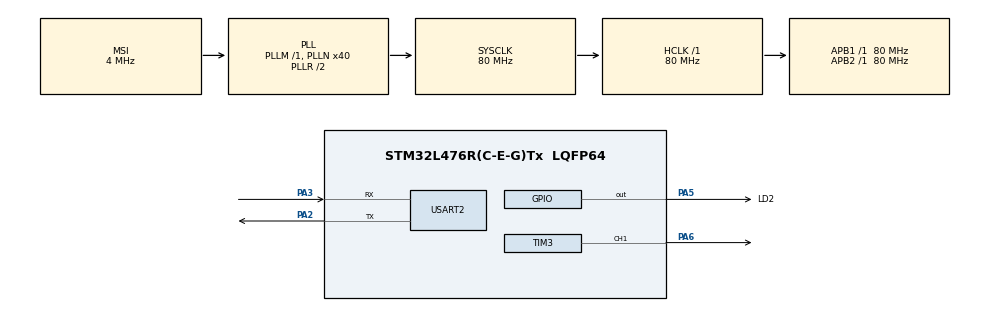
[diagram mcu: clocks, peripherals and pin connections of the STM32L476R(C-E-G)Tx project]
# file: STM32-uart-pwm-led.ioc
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Mcu.Family=STM32L4
Mcu.Name=STM32L476R(C-E-G)Tx
Mcu.Package=LQFP64
NVIC.PriorityGroup=NVIC_PRIORITYGROUP_4
PA13\ (JTMS-SWDIO).Mode=Serial_Wire
PA13\ (JTMS-SWDIO).Signal=SYS_JTMS-SWDIO
PA14\ (JTCK-SWCLK).Mode=Serial_Wire
PA14\ (JTCK-SWCLK).Signal=SYS_JTCK-SWCLK
PA2.Mode=Asynchronous
PA2.Signal=USART2_TX
PA3.Mode=Asynchronous
PA3.Signal=USART2_RX
PA5.GPIO_Label=LD2
PA5.Signal=GPIO_Output
PA6.Signal=S_TIM3_CH1
ProjectManager.HeapSize=0x200
ProjectManager.StackSize=0x400
ProjectManager.TargetToolchain=STM32CubeIDE
RCC.ADCFreq_Value=16000000
RCC.AHBFreq_Value=80000000
RCC.APB1Freq_Value=80000000
RCC.APB1TimFreq_Value=80000000
RCC.APB2Freq_Value=80000000
RCC.APB2TimFreq_Value=80000000
RCC.CortexFreq_Value=80000000
RCC.HCLKFreq_Value=80000000
RCC.HSE_VALUE=8000000
RCC.HSI_VALUE=16000000
RCC.LSE_VALUE=32768
RCC.MSI_VALUE=4000000
RCC.PLLN=40
RCC.SYSCLKFreq_VALUE=80000000
RCC.SYSCLKSource=RCC_SYSCLKSOURCE_PLLCLK
RCC.USBFreq_Value=16000000
RCC.VCOOutputFreq_Value=160000000
SH.S_TIM3_CH1.0=TIM3_CH1,PWM Generation1 CH1
TIM3.Channel-PWM\ Generation1\ CH1=TIM_CHANNEL_1
TIM3.Period=9999
TIM3.Prescaler=79
USART2.VirtualMode-Asynchronous=VM_ASYNC
VP_TIM3_VS_ClockSourceINT.Mode=Internal
board=custom

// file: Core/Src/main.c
/* USER CODE BEGIN Header */
/**
  ******************************************************************************
  * @file           : main.c
  * @brief          : Main program body
  ******************************************************************************
  * @attention
  *
  * Copyright (c) 2026 STMicroelectronics.
  * All rights reserved.
  *
  * This software is licensed under terms that can be found in the LICENSE file
  * in the root directory of this software component.
  * If no LICENSE file comes with this software, it is provided AS-IS.
  *
  ******************************************************************************
  */
/* USER CODE END Header */
#include "main.h"

/* USER CODE BEGIN Includes */
#include "math.h"
#include <stdio.h>
#include <string.h>
#include <stdbool.h>

/* USER CODE END Includes */

TIM_HandleTypeDef htim3;

UART_HandleTypeDef huart2;

void SystemClock_Config(void);
static void MX_GPIO_Init(void);
static void MX_USART2_UART_Init(void);
static void MX_TIM3_Init(void);

/* USER CODE BEGIN 0 */
void HAL_TIM_PeriodElapsedCallback(TIM_HandleTypeDef *htim)
{
  if (htim == &htim3) {
    HAL_GPIO_TogglePin(LD2_GPIO_Port, LD2_Pin);
  }
}

float calc_pwm(float val)
{
    const float k = 0.13f;
    const float x0 = 70.0f;
    return 10000.0f / (1.0f + exp(-k * (val - x0)));
}

int __io_putchar(int ch)
{
    if (ch == '\n') {
        uint8_t ch2 = '\r';
        HAL_UART_Transmit(&huart2, &ch2, 1, HAL_MAX_DELAY);
    }
    HAL_UART_Transmit(&huart2, (uint8_t*)&ch, 1, HAL_MAX_DELAY);
    return 1;
}

#define LINE_MAX_LENGTH	80
static char line_buffer[LINE_MAX_LENGTH + 1];
static uint32_t line_length;
void line_append(uint8_t value)
{
	if (value == '\r' || value == '\n') {

		if (line_length > 0) {

			line_buffer[line_length] = '\0';

			float pwm_val = 0;

			if (strcmp(line_buffer, "on") == 0){
				  printf("LED on \n");
				  HAL_TIM_PWM_Start(&htim3, TIM_CHANNEL_1);
				  __HAL_TIM_SET_COMPARE(&htim3, TIM_CHANNEL_1, calc_pwm(100));

			} else if (strcmp(line_buffer, "off") == 0){
				  printf("LED off \n");
				  HAL_TIM_PWM_Stop(&htim3, TIM_CHANNEL_1);

			} else if (line_buffer[0] >= '0' && line_buffer[2] <= '9'){

				for (int i = 0; i<line_length; i++){
					float number = line_buffer[i] - '0';
					pwm_val = pwm_val * 10 + number;
					if(pwm_val > 100)  pwm_val = 100;
					if(pwm_val < 0)  pwm_val = 0;
				}

				__HAL_TIM_SET_COMPARE(&htim3, TIM_CHANNEL_1, calc_pwm(pwm_val));
				printf("LED brightness: %.0f %\n", pwm_val);

			} else {
				printf("Uknown command: %s\n", line_buffer);

			}

			line_length = 0;
		}
	}
	else {
		if (line_length >= LINE_MAX_LENGTH) {

			line_length = 0;
		}

		line_buffer[line_length++] = value;
	}
}

/* USER CODE END 0 */

int main(void)
{

  /* MCU Configuration--------------------------------------------------------*/

  /* Reset of all peripherals, Initializes the Flash interface and the Systick. */
  HAL_Init();

  /* Configure the system clock */
  SystemClock_Config();

  /* Initialize all configured peripherals */
  MX_GPIO_Init();
  MX_USART2_UART_Init();
  MX_TIM3_Init();

  /* Infinite loop */
  /* USER CODE BEGIN WHILE */
  while (1)
  {
	  uint8_t value;
	  	  if (HAL_UART_Receive(&huart2, &value, 1, 0) == HAL_OK){
	  		line_append(value);
	  	  }
    /* USER CODE END WHILE */

  }
}

void SystemClock_Config(void)
{
  RCC_OscInitTypeDef RCC_OscInitStruct = {0};
  RCC_ClkInitTypeDef RCC_ClkInitStruct = {0};

  /** Configure the main internal regulator output voltage
  */
  if (HAL_PWREx_ControlVoltageScaling(PWR_REGULATOR_VOLTAGE_SCALE1) != HAL_OK)
  {
    Error_Handler();
  }

  /** Initializes the RCC Oscillators according to the specified parameters
  * in the RCC_OscInitTypeDef structure.
  */
  RCC_OscInitStruct.OscillatorType = RCC_OSCILLATORTYPE_MSI;
  RCC_OscInitStruct.MSIState = RCC_MSI_ON;
  RCC_OscInitStruct.MSICalibrationValue = 0;
  RCC_OscInitStruct.MSIClockRange = RCC_MSIRANGE_6;
  RCC_OscInitStruct.PLL.PLLState = RCC_PLL_ON;
  RCC_OscInitStruct.PLL.PLLSource = RCC_PLLSOURCE_MSI;
  RCC_OscInitStruct.PLL.PLLM = 1;
  RCC_OscInitStruct.PLL.PLLN = 40;
  RCC_OscInitStruct.PLL.PLLP = RCC_PLLP_DIV7;
  RCC_OscInitStruct.PLL.PLLQ = RCC_PLLQ_DIV2;
  RCC_OscInitStruct.PLL.PLLR = RCC_PLLR_DIV2;
  if (HAL_RCC_OscConfig(&RCC_OscInitStruct) != HAL_OK)
  {
    Error_Handler();
  }

  /** Initializes the CPU, AHB and APB buses clocks
  */
  RCC_ClkInitStruct.ClockType = RCC_CLOCKTYPE_HCLK|RCC_CLOCKTYPE_SYSCLK
                              |RCC_CLOCKTYPE_PCLK1|RCC_CLOCKTYPE_PCLK2;
  RCC_ClkInitStruct.SYSCLKSource = RCC_SYSCLKSOURCE_PLLCLK;
  RCC_ClkInitStruct.AHBCLKDivider = RCC_SYSCLK_DIV1;
  RCC_ClkInitStruct.APB1CLKDivider = RCC_HCLK_DIV1;
  RCC_ClkInitStruct.APB2CLKDivider = RCC_HCLK_DIV1;

  if (HAL_RCC_ClockConfig(&RCC_ClkInitStruct, FLASH_LATENCY_4) != HAL_OK)
  {
    Error_Handler();
  }
}

static void MX_TIM3_Init(void)
{

  TIM_ClockConfigTypeDef sClockSourceConfig = {0};
  TIM_MasterConfigTypeDef sMasterConfig = {0};
  TIM_OC_InitTypeDef sConfigOC = {0};

  htim3.Instance = TIM3;
  htim3.Init.Prescaler = 79;
  htim3.Init.CounterMode = TIM_COUNTERMODE_UP;
  htim3.Init.Period = 9999;
  htim3.Init.ClockDivision = TIM_CLOCKDIVISION_DIV1;
  htim3.Init.AutoReloadPreload = TIM_AUTORELOAD_PRELOAD_DISABLE;
  if (HAL_TIM_Base_Init(&htim3) != HAL_OK)
  {
    Error_Handler();
  }
  sClockSourceConfig.ClockSource = TIM_CLOCKSOURCE_INTERNAL;
  if (HAL_TIM_ConfigClockSource(&htim3, &sClockSourceConfig) != HAL_OK)
  {
    Error_Handler();
  }
  if (HAL_TIM_PWM_Init(&htim3) != HAL_OK)
  {
    Error_Handler();
  }
  sMasterConfig.MasterOutputTrigger = TIM_TRGO_RESET;
  sMasterConfig.MasterSlaveMode = TIM_MASTERSLAVEMODE_DISABLE;
  if (HAL_TIMEx_MasterConfigSynchronization(&htim3, &sMasterConfig) != HAL_OK)
  {
    Error_Handler();
  }
  sConfigOC.OCMode = TIM_OCMODE_PWM1;
  sConfigOC.Pulse = 0;
  sConfigOC.OCPolarity = TIM_OCPOLARITY_HIGH;
  sConfigOC.OCFastMode = TIM_OCFAST_DISABLE;
  if (HAL_TIM_PWM_ConfigChannel(&htim3, &sConfigOC, TIM_CHANNEL_1) != HAL_OK)
  {
    Error_Handler();
  }
  HAL_TIM_MspPostInit(&htim3);

}

static void MX_USART2_UART_Init(void)
{

  huart2.Instance = USART2;
  huart2.Init.BaudRate = 115200;
  huart2.Init.WordLength = UART_WORDLENGTH_8B;
  huart2.Init.StopBits = UART_STOPBITS_1;
  huart2.Init.Parity = UART_PARITY_NONE;
  huart2.Init.Mode = UART_MODE_TX_RX;
  huart2.Init.HwFlowCtl = UART_HWCONTROL_NONE;
  huart2.Init.OverSampling = UART_OVERSAMPLING_16;
  huart2.Init.OneBitSampling = UART_ONE_BIT_SAMPLE_DISABLE;
  huart2.AdvancedInit.AdvFeatureInit = UART_ADVFEATURE_NO_INIT;
  if (HAL_UART_Init(&huart2) != HAL_OK)
  {
    Error_Handler();
  }

}

static void MX_GPIO_Init(void)
{
  GPIO_InitTypeDef GPIO_InitStruct = {0};

  /* GPIO Ports Clock Enable */
  __HAL_RCC_GPIOA_CLK_ENABLE();

  /*Configure GPIO pin Output Level */
  HAL_GPIO_WritePin(LD2_GPIO_Port, LD2_Pin, GPIO_PIN_RESET);

  /*Configure GPIO pin : LD2_Pin */
  GPIO_InitStruct.Pin = LD2_Pin;
  GPIO_InitStruct.Mode = GPIO_MODE_OUTPUT_PP;
  GPIO_InitStruct.Pull = GPIO_NOPULL;
  GPIO_InitStruct.Speed = GPIO_SPEED_FREQ_LOW;
  HAL_GPIO_Init(LD2_GPIO_Port, &GPIO_InitStruct);

}

void Error_Handler(void)
{
  __disable_irq();
  while (1)
  {
  }
}
